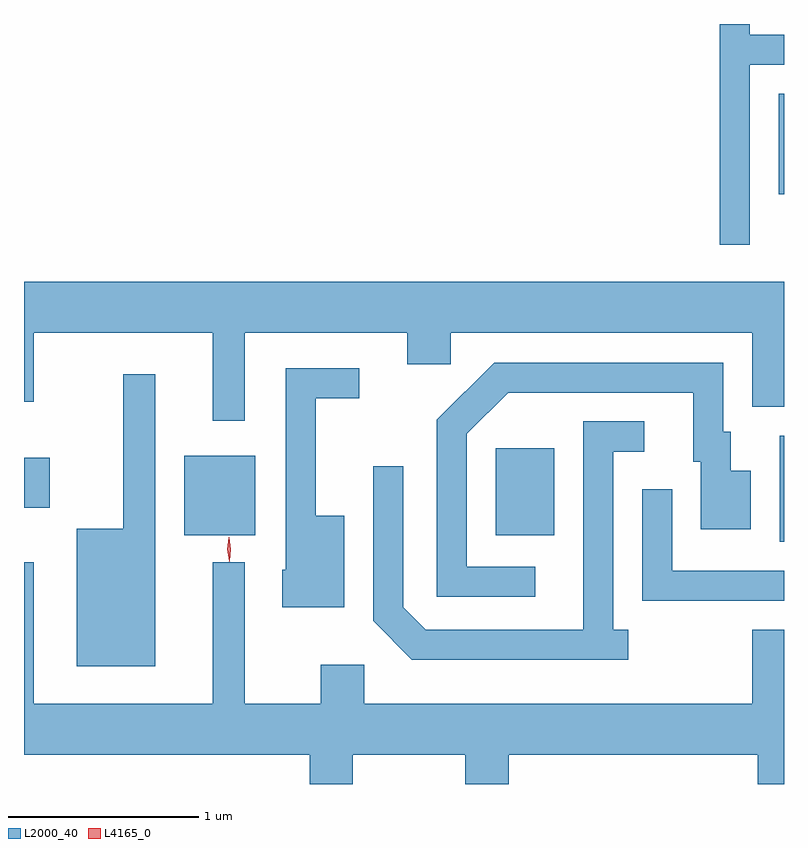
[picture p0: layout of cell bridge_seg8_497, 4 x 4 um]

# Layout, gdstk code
import gdstk
lib = gdstk.Library(unit=1e-6, precision=1e-09)
def R(c, l, rs):  # rectangles x0, y0, x1, y1
    for r in rs: c.add(gdstk.rectangle(r[:2], r[2:], *l))
def P(c, l, *ps):  # polygons
    for p in ps: c.add(gdstk.Polygon(p, *l))
L2000_40 = (2000, 40)
L4165_0 = (4165, 0)

bridge_seg8_497 = lib.new_cell('bridge_seg8_497')
R(bridge_seg8_497, L2000_40, [(388.826,1893.036,388.848,1893.594), (385.691,1893.071,386.064,1893.489), (387.331,1893.071,387.639,1893.529), (384.848,1893.216,384.984,1893.479), (388.821,1894.866,388.848,1895.394)])
P(bridge_seg8_497, L2000_40, [(388.669,1895.546),(388.848,1895.546),(388.848,1895.704),(388.669,1895.704),(388.669,1895.761),(388.511,1895.761),(388.511,1894.598),(388.669,1894.598)],
  [(386.009,1894.136),(386.866,1894.136),(386.866,1893.971),(387.094,1893.971),(387.094,1894.136),(388.681,1894.136),(388.681,1893.746),(388.848,1893.746),(388.848,1894.404),(384.848,1894.404),(384.848,1893.773),(384.899,1893.773),(384.899,1894.136),(385.841,1894.136),(385.841,1893.673),(386.009,1893.673)],
  [(387.538,1892.904),(387.179,1892.904),(387.179,1893.604),(387.397,1893.821),(388.371,1893.821),(388.371,1893.456),(388.411,1893.456),(388.411,1893.101),(388.674,1893.101),(388.674,1893.409),(388.569,1893.409),(388.569,1893.614),(388.529,1893.614),(388.529,1893.979),(387.324,1893.979),(387.021,1893.677),(387.021,1892.746),(387.538,1892.746)],
  [(386.534,1893.174),(386.384,1893.174),(386.384,1893.791),(386.613,1893.791),(386.613,1893.949),(386.226,1893.949),(386.226,1892.889),(386.206,1892.889),(386.206,1892.691),(386.534,1892.691)],
  [(385.539,1893.918),(385.371,1893.918),(385.371,1893.104),(385.126,1893.104),(385.126,1892.381),(385.539,1892.381)],
  [(388.028,1892.574),(387.949,1892.574),(387.949,1893.511),(388.113,1893.511),(388.113,1893.669),(387.791,1893.669),(387.791,1892.574),(386.962,1892.574),(386.844,1892.692),(386.844,1893.433),(386.686,1893.433),(386.686,1892.619),(386.889,1892.416),(388.028,1892.416)],
  [(388.848,1892.884),(388.259,1892.884),(388.259,1893.313),(388.101,1893.313),(388.101,1892.726),(388.848,1892.726)],
  [(386.579,1891.916),(387.171,1891.916),(387.171,1891.761),(387.399,1891.761),(387.399,1891.916),(388.711,1891.916),(388.711,1891.761),(388.848,1891.761),(388.848,1892.574),(388.681,1892.574),(388.681,1892.184),(386.639,1892.184),(386.639,1892.389),(386.411,1892.389),(386.411,1892.184),(386.009,1892.184),(386.009,1892.928),(385.841,1892.928),(385.841,1892.184),(384.899,1892.184),(384.899,1892.928),(384.848,1892.928),(384.848,1891.916),(386.351,1891.916),(386.351,1891.761),(386.579,1891.761)])
P(bridge_seg8_497, L4165_0, [(385.929,1892.932),(385.928,1892.933),(385.918,1892.997),(385.926,1893.061),(385.926,1893.061),(385.927,1893.061),(385.937,1892.997),(385.93,1892.933)])

lib.write_gds('bridge_seg8_497.gds')
